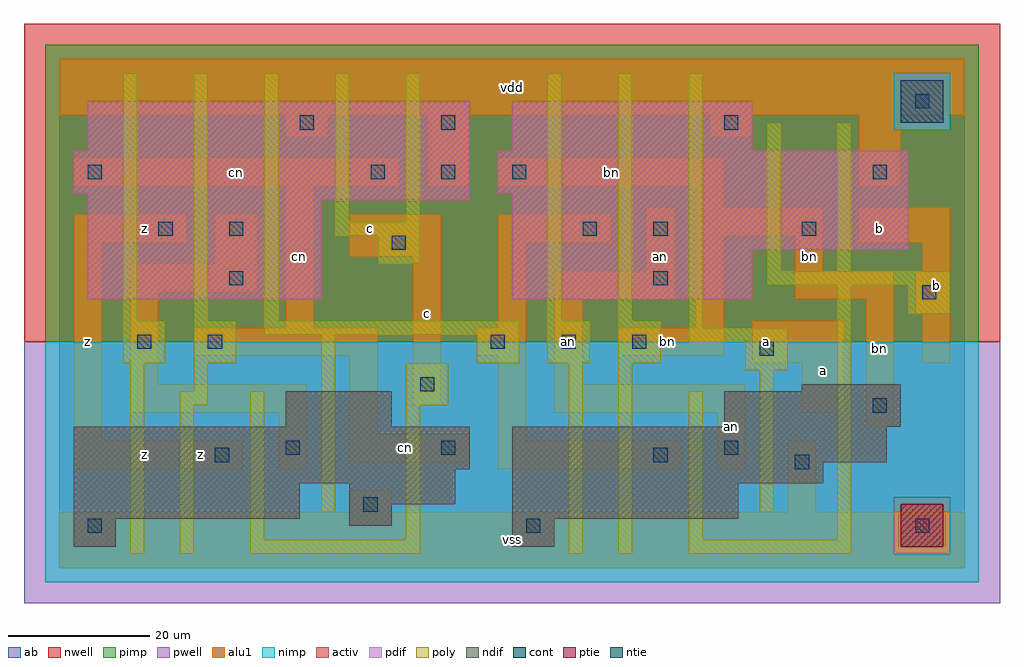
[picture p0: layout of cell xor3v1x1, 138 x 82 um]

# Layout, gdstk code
import gdstk
lib = gdstk.Library(unit=1e-6, precision=1e-09)
def R(c, l, rs):  # rectangles x0, y0, x1, y1
    for r in rs: c.add(gdstk.rectangle(r[:2], r[2:], *l))
def A(c, l, x, y, w, h, nx, ny, dx, dy):  # array of equal rectangles
    R(c, l, [(x+i*dx, y+j*dy, x+i*dx+w, y+j*dy+h) for i in range(nx) for j in range(ny)])
ndif = (3, 0)
pdif = (4, 0)
ntie = (5, 0)
ptie = (6, 0)
cont = (25, 0)
pwell = (41, 0)
nwell = (42, 0)
activ = (43, 0)
pimp = (44, 0)
nimp = (45, 0)
poly = (46, 0)
alu1 = (49, 0)
ab = (63, 0)

xor3v1x1 = lib.new_cell('xor3v1x1')
R(xor3v1x1, ndif, [(2,3,8,7), (64,3,70,7), (41,6,47,9), (2,7,34,12), (64,7,96,12), (41,9,56,12), (2,12,56,14), (64,12,108,15), (2,14,58,20), (64,15,117,20), (32,20,47,25), (94,20,119,25), (105,25,119,26)])
R(xor3v1x1, pdif, [(4,38,37,52), (64,38,98,45), (64,45,120,53), (4,52,58,53), (2,53,58,59), (62,53,120,59), (4,59,58,66), (64,59,98,66)])
R(xor3v1x1, ntie, [(119,63,125,69)])
R(xor3v1x1, ptie, [(119,3,125,9)])
A(xor3v1x1, cont, 61, 31, 2, 2, 3, 1, 10, 0)
A(xor3v1x1, cont, 44, 55, 2, 2, 3, 1, 10, 0)
R(xor3v1x1, cont, [(4,5,6,7), (66,5,68,7), (121,5,123,7), (43,8,45,10), (104,14,106,16), (22,15,24,17), (84,15,86,17), (32,16,34,18), (54,16,56,18), (94,16,96,18), (115,22,117,24), (51,25,53,27), (99,30,101,32), (11,31,13,33), (21,31,23,33), (122,38,124,40), (24,40,26,42), (84,40,86,42), (47,45,49,47), (14,47,16,49), (24,47,26,49), (74,47,76,49), (84,47,86,49), (105,47,107,49), (4,55,6,57), (115,55,117,57), (34,62,36,64), (54,62,56,64), (94,62,96,64), (121,65,123,67)])
R(xor3v1x1, pwell, [(-5,-5,133,32)])
R(xor3v1x1, nwell, [(-5,32,133,77)])
R(xor3v1x1, activ, [(2,3,8,7), (64,3,70,7), (119,3,125,9), (41,6,47,9), (2,7,34,12), (64,7,96,12), (41,9,56,12), (2,12,56,14), (64,12,108,15), (2,14,58,20), (64,15,117,20), (32,20,47,25), (94,20,119,25), (105,25,119,26), (4,38,37,52), (64,38,98,45), (64,45,120,53), (4,52,58,53), (2,53,58,59), (62,53,120,59), (4,59,58,66), (64,59,98,66), (119,63,125,69)])
R(xor3v1x1, pimp, [(118,2,126,10), (-2,32,130,62), (-2,62,118,70), (126,62,130,70), (-2,70,130,74)])
R(xor3v1x1, nimp, [(-2,-2,130,2), (-2,2,118,10), (126,2,130,10), (-2,10,130,32), (118,62,126,70)])
A(xor3v1x1, poly, 9, 35, 2, 35, 3, 1, 10, 0)
R(xor3v1x1, poly, [(10,2,12,29), (17,2,19,23), (27,2,51,4), (72,2,74,29), (79,2,81,29), (89,2,112,4), (27,4,29,25), (49,4,51,23), (89,4,91,25), (110,4,112,40), (37,8,39,33), (99,8,101,28), (17,23,21,25), (49,23,55,29), (19,25,21,29), (97,28,103,32), (9,29,15,35), (19,29,25,35), (59,29,65,33), (69,29,75,35), (79,29,85,35), (89,32,103,34), (29,33,65,35), (89,34,91,70), (69,35,71,70), (79,35,81,70), (120,36,126,40), (100,40,126,42), (100,42,102,63), (110,42,112,63), (45,43,51,47), (39,47,51,49), (39,49,41,70), (49,49,51,70)])
R(xor3v1x1, alu1, [(0,0,128,8), (41,8,47,11), (103,8,107,18), (2,14,26,18), (31,14,35,22), (62,14,88,18), (93,14,97,22), (41,15,58,19), (2,18,6,46), (62,18,66,30), (41,19,45,30), (114,20,118,38), (10,22,35,26), (70,22,97,26), (105,22,111,29), (50,23,54,44), (10,26,14,39), (70,26,74,38), (98,29,111,35), (122,29,126,36), (19,30,45,34), (59,30,66,34), (79,30,94,34), (32,34,36,54), (62,34,66,46), (90,34,94,47), (121,36,126,42), (70,38,87,42), (104,38,118,42), (10,39,28,43), (83,42,87,51), (104,42,108,47), (122,42,126,46), (22,43,28,50), (41,44,54,50), (2,46,18,50), (62,46,78,50), (113,46,126,51), (90,47,108,51), (90,51,94,54), (2,54,48,58), (52,54,58,64), (62,54,94,58), (113,54,119,64), (32,61,38,64), (92,61,98,64), (0,64,128,72)])
R(xor3v1x1, ab, [(0,0,128,72)])
xor3v1x1.add(gdstk.Label('cn', (49,17), layer=49, texttype=0))
xor3v1x1.add(gdstk.Label('cn', (25,56), layer=49, texttype=0))
xor3v1x1.add(gdstk.Label('cn', (34,44), layer=49, texttype=0))
xor3v1x1.add(gdstk.Label('an', (85,44), layer=49, texttype=0))
xor3v1x1.add(gdstk.Label('an', (72,32), layer=49, texttype=0))
xor3v1x1.add(gdstk.Label('an', (95,20), layer=49, texttype=0))
xor3v1x1.add(gdstk.Label('bn', (86,32), layer=49, texttype=0))
xor3v1x1.add(gdstk.Label('bn', (106,44), layer=49, texttype=0))
xor3v1x1.add(gdstk.Label('bn', (116,31), layer=49, texttype=0))
xor3v1x1.add(gdstk.Label('bn', (78,56), layer=49, texttype=0))
xor3v1x1.add(gdstk.Label('z', (20,16), layer=49, texttype=0))
xor3v1x1.add(gdstk.Label('z', (12,16), layer=49, texttype=0))
xor3v1x1.add(gdstk.Label('z', (4,32), layer=49, texttype=0))
xor3v1x1.add(gdstk.Label('z', (12,48), layer=49, texttype=0))
xor3v1x1.add(gdstk.Label('c', (52,36), layer=49, texttype=0))
xor3v1x1.add(gdstk.Label('c', (44,48), layer=49, texttype=0))
xor3v1x1.add(gdstk.Label('vss', (64,4), layer=49, texttype=0))
xor3v1x1.add(gdstk.Label('vdd', (64,68), layer=49, texttype=0))
xor3v1x1.add(gdstk.Label('a', (100,32), layer=49, texttype=0))
xor3v1x1.add(gdstk.Label('a', (108,28), layer=49, texttype=0))
xor3v1x1.add(gdstk.Label('b', (124,40), layer=49, texttype=0))
xor3v1x1.add(gdstk.Label('b', (116,48), layer=49, texttype=0))

lib.write_gds('xor3v1x1.gds')
